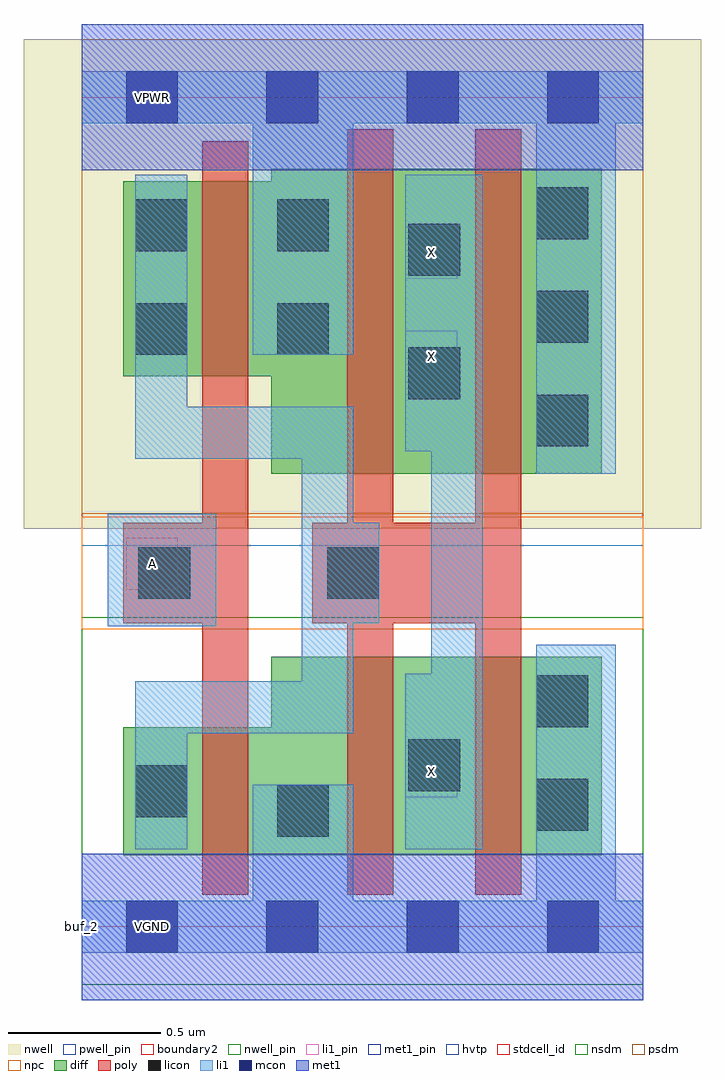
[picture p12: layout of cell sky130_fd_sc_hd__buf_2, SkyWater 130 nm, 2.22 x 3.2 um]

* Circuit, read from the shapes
.subckt sky130_fd_sc_hd__buf_2 A VGND VNB VPB VPWR X
XM1 VGND A n1 VNB sky130_fd_pr__nfet_01v8 w=0.42 l=0.15
XM2 X n1 VGND VNB sky130_fd_pr__nfet_01v8 w=0.65 l=0.15 m=2
XM3 VPWR A n1 VPB sky130_fd_pr__pfet_01v8_hvt w=0.64 l=0.15
XM4 X n1 VPWR VPB sky130_fd_pr__pfet_01v8_hvt w=1 l=0.15 m=2
.ends

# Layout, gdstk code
import gdstk
lib = gdstk.Library(unit=1e-6, precision=1e-09)
def R(c, l, rs):  # rectangles x0, y0, x1, y1
    for r in rs: c.add(gdstk.rectangle(r[:2], r[2:], *l))
def A(c, l, x, y, w, h, nx, ny, dx, dy):  # array of equal rectangles
    R(c, l, [(x+i*dx, y+j*dy, x+i*dx+w, y+j*dy+h) for i in range(nx) for j in range(ny)])
def P(c, l, *ps):  # polygons
    for p in ps: c.add(gdstk.Polygon(p, *l))
nwell_pin = (64, 16)
nwell = (64, 20)
diff = (65, 20)
poly = (66, 20)
licon = (66, 44)
li1_pin = (67, 16)
li1 = (67, 20)
mcon = (67, 44)
met1_pin = (68, 16)
met1 = (68, 20)
hvtp = (78, 44)
stdcell_id = (81, 4)
nsdm = (93, 44)
psdm = (94, 20)
npc = (95, 20)
pwell_pin = (122, 16)
boundary2 = (236, 0)

sky130_fd_sc_hd__buf_2 = lib.new_cell('sky130_fd_sc_hd__buf_2')
R(sky130_fd_sc_hd__buf_2, nwell_pin, [(0.145,2.635,0.315,2.805)])
R(sky130_fd_sc_hd__buf_2, nwell, [(-0.19,1.305,2.03,2.91)])
P(sky130_fd_sc_hd__buf_2, diff, [(1.705,2.485),(0.62,2.485),(0.62,2.445),(0.135,2.445),(0.135,1.805),(0.62,1.805),(0.62,1.485),(1.705,1.485)],
  [(1.705,0.885),(0.62,0.885),(0.62,0.655),(0.135,0.655),(0.135,0.235),(1.705,0.235)])
P(sky130_fd_sc_hd__buf_2, poly, [(1.44,2.615),(1.29,2.615),(1.29,1.325),(1.02,1.325),(1.02,2.615),(0.87,2.615),(0.87,1.325),(0.755,1.325),(0.755,0.995),(0.87,0.995),(0.87,0.105),(1.02,0.105),(1.02,0.995),(1.29,0.995),(1.29,0.105),(1.44,0.105)],
  [(0.545,2.575),(0.395,2.575),(0.395,1.325),(0.135,1.325),(0.135,0.995),(0.395,0.995),(0.395,0.105),(0.545,0.105)])
A(sky130_fd_sc_hd__buf_2, licon, 1.49, 1.575, 0.17, 0.17, 1, 3, 0, 0.34)
R(sky130_fd_sc_hd__buf_2, licon, [(0.64,0.295,0.81,0.465), (1.49,0.315,1.66,0.485), (0.175,0.36,0.345,0.53), (1.07,0.445,1.24,0.615), (1.49,0.655,1.66,0.825), (0.185,1.075,0.355,1.245), (0.805,1.075,0.975,1.245), (1.07,1.73,1.24,1.9), (0.175,1.875,0.345,2.045), (0.64,1.875,0.81,2.045), (1.07,2.135,1.24,2.305), (0.175,2.215,0.345,2.385), (0.64,2.215,0.81,2.385)])
R(sky130_fd_sc_hd__buf_2, li1_pin, [(0.145,-0.085,0.315,0.085), (1.06,0.425,1.23,0.595), (0.145,1.105,0.315,1.275), (1.06,1.785,1.23,1.955), (1.06,2.125,1.23,2.295), (0.145,2.635,0.315,2.805)])
R(sky130_fd_sc_hd__buf_2, li1, [(0.085,0.985,0.44,1.355)])
P(sky130_fd_sc_hd__buf_2, li1, [(0.975,1.325),(0.89,1.325),(0.89,1.705),(0.345,1.705),(0.345,2.465),(0.175,2.465),(0.175,1.535),(0.72,1.535),(0.72,0.805),(0.175,0.805),(0.175,0.255),(0.345,0.255),(0.345,0.635),(0.89,0.635),(0.89,0.995),(0.975,0.995)],
  [(1.315,2.465),(1.06,2.465),(1.06,1.56),(1.145,1.56),(1.145,0.83),(1.06,0.83),(1.06,0.255),(1.315,0.255)],
  [(1.84,2.805),(0,2.805),(0,2.635),(0.56,2.635),(0.56,1.875),(0.89,1.875),(0.89,2.635),(1.49,2.635),(1.49,1.485),(1.75,1.485),(1.75,2.635),(1.84,2.635)],
  [(1.84,0.085),(1.75,0.085),(1.75,0.925),(1.49,0.925),(1.49,0.085),(0.89,0.085),(0.89,0.465),(0.56,0.465),(0.56,0.085),(0,0.085),(0,-0.085),(1.84,-0.085)])
A(sky130_fd_sc_hd__buf_2, mcon, 0.145, -0.085, 0.17, 0.17, 4, 2, 0.46, 2.72)
R(sky130_fd_sc_hd__buf_2, met1_pin, [(0.145,-0.085,0.315,0.085), (0.145,2.635,0.315,2.805)])
R(sky130_fd_sc_hd__buf_2, hvtp, [(0,1.25,1.84,2.72)])
R(sky130_fd_sc_hd__buf_2, stdcell_id, [(0,0,1.84,2.72)])
R(sky130_fd_sc_hd__buf_2, nsdm, [(0,-0.19,1.84,1.015)])
R(sky130_fd_sc_hd__buf_2, psdm, [(0,1.355,1.84,2.91)])
R(sky130_fd_sc_hd__buf_2, npc, [(0,0.975,1.84,1.345)])
R(sky130_fd_sc_hd__buf_2, pwell_pin, [(0.145,-0.085,0.315,0.085)])
R(sky130_fd_sc_hd__buf_2, boundary2, [(0,0,1.84,2.72)])
sky130_fd_sc_hd__buf_2.add(gdstk.FlexPath([(0,0),(1.84,0)], 0.48, ends="flush", simple_path=True, layer=68, datatype=20))  # met1
sky130_fd_sc_hd__buf_2.add(gdstk.FlexPath([(0,2.72),(1.84,2.72)], 0.48, ends="flush", simple_path=True, layer=68, datatype=20))  # met1
sky130_fd_sc_hd__buf_2.add(gdstk.Label('VPWR', (0.23,2.72), layer=68, texttype=5))
sky130_fd_sc_hd__buf_2.add(gdstk.Label('VGND', (0.23,0), layer=68, texttype=5))
sky130_fd_sc_hd__buf_2.add(gdstk.Label('VPWR', (0.23,2.72), layer=67, texttype=5))
sky130_fd_sc_hd__buf_2.add(gdstk.Label('VGND', (0.23,0), layer=67, texttype=5))
sky130_fd_sc_hd__buf_2.add(gdstk.Label('X', (1.145,0.51), layer=67, texttype=5))
sky130_fd_sc_hd__buf_2.add(gdstk.Label('X', (1.145,1.87), layer=67, texttype=5))
sky130_fd_sc_hd__buf_2.add(gdstk.Label('X', (1.145,2.21), layer=67, texttype=5))
sky130_fd_sc_hd__buf_2.add(gdstk.Label('A', (0.23,1.19), layer=67, texttype=5))
sky130_fd_sc_hd__buf_2.add(gdstk.Label('VPB', (0.23,2.72), layer=64, texttype=5))
sky130_fd_sc_hd__buf_2.add(gdstk.Label('VNB', (0.23,0), layer=64, texttype=59))
sky130_fd_sc_hd__buf_2.add(gdstk.Label('buf_2', (0,0), layer=83, texttype=44))

lib.write_gds('sky130_fd_sc_hd__buf_2.gds')
